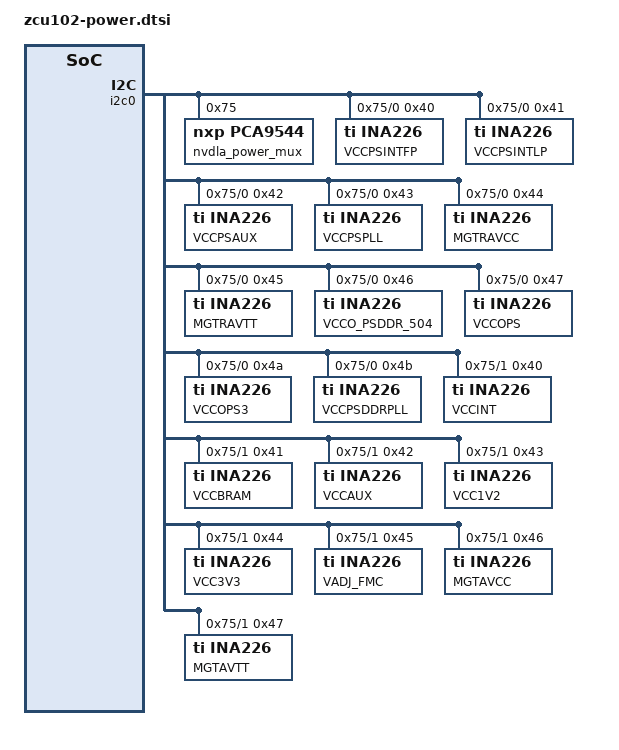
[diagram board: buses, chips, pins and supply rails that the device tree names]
/*
 * Board-local ZCU102 power monitor description.
 *
 * Addresses and shunt values follow the Linux Xilinx
 * zynqmp-zcu102-revA.dts board description inherited by later revisions.
 * Human-readable labels identify the rails in benchmark evidence.
 */
&i2c0 {
    #address-cells = <1>;
    #size-cells = <0>;

    nvdla_power_mux: i2c-mux@75 {
        compatible = "nxp,pca9544";
        #address-cells = <1>;
        #size-cells = <0>;
        reg = <0x75>;

        i2c@0 {
            #address-cells = <1>;
            #size-cells = <0>;
            reg = <0>;

            ina226_psintfp: power-monitor@40 {
                compatible = "ti,ina226";
                label = "VCCPSINTFP";
                reg = <0x40>;
                shunt-resistor = <5000>;
            };

            ina226_psintlp: power-monitor@41 {
                compatible = "ti,ina226";
                label = "VCCPSINTLP";
                reg = <0x41>;
                shunt-resistor = <5000>;
            };

            ina226_psaux: power-monitor@42 {
                compatible = "ti,ina226";
                label = "VCCPSAUX";
                reg = <0x42>;
                shunt-resistor = <5000>;
            };

            ina226_pspll: power-monitor@43 {
                compatible = "ti,ina226";
                label = "VCCPSPLL";
                reg = <0x43>;
                shunt-resistor = <5000>;
            };

            ina226_mgtravcc: power-monitor@44 {
                compatible = "ti,ina226";
                label = "MGTRAVCC";
                reg = <0x44>;
                shunt-resistor = <5000>;
            };

            ina226_mgtravtt: power-monitor@45 {
                compatible = "ti,ina226";
                label = "MGTRAVTT";
                reg = <0x45>;
                shunt-resistor = <5000>;
            };

            ina226_psddr: power-monitor@46 {
                compatible = "ti,ina226";
                label = "VCCO_PSDDR_504";
                reg = <0x46>;
                shunt-resistor = <5000>;
            };

            ina226_ps: power-monitor@47 {
                compatible = "ti,ina226";
                label = "VCCOPS";
                reg = <0x47>;
                shunt-resistor = <5000>;
            };

            ina226_ps3: power-monitor@4a {
                compatible = "ti,ina226";
                label = "VCCOPS3";
                reg = <0x4a>;
                shunt-resistor = <5000>;
            };

            ina226_psddrpll: power-monitor@4b {
                compatible = "ti,ina226";
                label = "VCCPSDDRPLL";
                reg = <0x4b>;
                shunt-resistor = <5000>;
            };
        };

        i2c@1 {
            #address-cells = <1>;
            #size-cells = <0>;
            reg = <1>;

            ina226_vccint: power-monitor@40 {
                compatible = "ti,ina226";
                label = "VCCINT";
                reg = <0x40>;
                shunt-resistor = <2000>;
            };

            ina226_vccbram: power-monitor@41 {
                compatible = "ti,ina226";
                label = "VCCBRAM";
                reg = <0x41>;
                shunt-resistor = <5000>;
            };

            ina226_vccaux: power-monitor@42 {
                compatible = "ti,ina226";
                label = "VCCAUX";
                reg = <0x42>;
                shunt-resistor = <5000>;
            };

            ina226_vcc1v2: power-monitor@43 {
                compatible = "ti,ina226";
                label = "VCC1V2";
                reg = <0x43>;
                shunt-resistor = <5000>;
            };

            ina226_vcc3v3: power-monitor@44 {
                compatible = "ti,ina226";
                label = "VCC3V3";
                reg = <0x44>;
                shunt-resistor = <5000>;
            };

            ina226_vadj_fmc: power-monitor@45 {
                compatible = "ti,ina226";
                label = "VADJ_FMC";
                reg = <0x45>;
                shunt-resistor = <5000>;
            };

            ina226_mgtavcc: power-monitor@46 {
                compatible = "ti,ina226";
                label = "MGTAVCC";
                reg = <0x46>;
                shunt-resistor = <5000>;
            };

            ina226_mgtavtt: power-monitor@47 {
                compatible = "ti,ina226";
                label = "MGTAVTT";
                reg = <0x47>;
                shunt-resistor = <5000>;
            };
        };
    };
};
